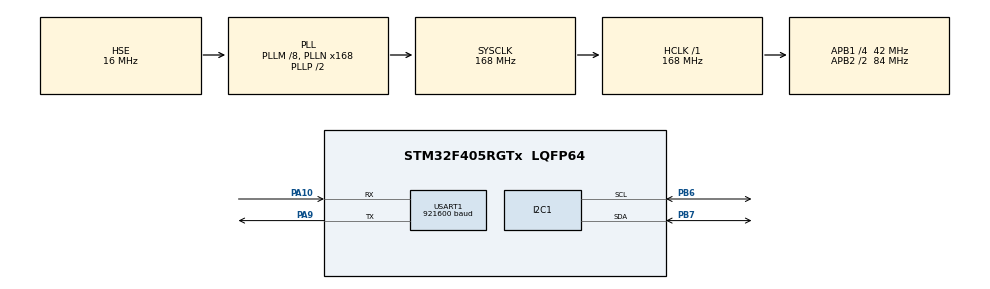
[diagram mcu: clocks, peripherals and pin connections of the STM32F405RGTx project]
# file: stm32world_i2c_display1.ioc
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I2C1.I2C_Mode=I2C_Fast
Mcu.Family=STM32F4
Mcu.Name=STM32F405RGTx
Mcu.Package=LQFP64
NVIC.PriorityGroup=NVIC_PRIORITYGROUP_4
PA10.Mode=Asynchronous
PA10.Signal=USART1_RX
PA13.Mode=Trace_Asynchronous_SW
PA13.Signal=SYS_JTMS-SWDIO
PA14.Mode=Trace_Asynchronous_SW
PA14.Signal=SYS_JTCK-SWCLK
PA9.Mode=Asynchronous
PA9.Signal=USART1_TX
PB3.Mode=Trace_Asynchronous_SW
PB3.Signal=SYS_JTDO-SWO
PB6.GPIO_Pu=GPIO_PULLUP
PB6.Mode=I2C
PB6.Signal=I2C1_SCL
PB7.GPIO_Pu=GPIO_PULLUP
PB7.Mode=I2C
PB7.Signal=I2C1_SDA
PH0-OSC_IN.Mode=HSE-External-Oscillator
PH0-OSC_IN.Signal=RCC_OSC_IN
PH1-OSC_OUT.Mode=HSE-External-Oscillator
PH1-OSC_OUT.Signal=RCC_OSC_OUT
ProjectManager.HeapSize=0x200
ProjectManager.StackSize=0x400
ProjectManager.TargetToolchain=STM32CubeIDE
RCC.48MHZClocksFreq_Value=84000000
RCC.AHBFreq_Value=168000000
RCC.APB1CLKDivider=RCC_HCLK_DIV4
RCC.APB1Freq_Value=42000000
RCC.APB1TimFreq_Value=84000000
RCC.APB2CLKDivider=RCC_HCLK_DIV2
RCC.APB2Freq_Value=84000000
RCC.APB2TimFreq_Value=168000000
RCC.CortexFreq_Value=168000000
RCC.HCLKFreq_Value=168000000
RCC.HSE_VALUE=16000000
RCC.HSI_VALUE=16000000
RCC.LSE_VALUE=32768
RCC.PLLM=8
RCC.PLLN=168
RCC.PLLSourceVirtual=RCC_PLLSOURCE_HSE
RCC.SYSCLKFreq_VALUE=168000000
RCC.SYSCLKSource=RCC_SYSCLKSOURCE_PLLCLK
RCC.VCOOutputFreq_Value=336000000
USART1.BaudRate=921600
USART1.VirtualMode=VM_ASYNC
board=custom

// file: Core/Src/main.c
/* USER CODE BEGIN Header */
/**
  ******************************************************************************
  * @file           : main.c
  * @brief          : Main program body
  ******************************************************************************
  * @attention
  *
  * Copyright (c) 2024 Lars Boegild Thomsen <lth@stm32world.com>
  * All rights reserved.
  *
  * This software is licensed under terms that can be found in the LICENSE file
  * in the root directory of this software component.
  * If no LICENSE file comes with this software, it is provided AS-IS.
  *
  ******************************************************************************
  */
/* USER CODE END Header */
#include "main.h"

/* USER CODE BEGIN Includes */
#include <stdio.h>
#include "lcd.h"
/* USER CODE END Includes */

I2C_HandleTypeDef hi2c1;

UART_HandleTypeDef huart1;

void SystemClock_Config(void);
static void MX_GPIO_Init(void);
static void MX_I2C1_Init(void);
static void MX_USART1_UART_Init(void);

/* USER CODE BEGIN 0 */

// Send printf to uart1
int _write(int fd, char *ptr, int len) {
    HAL_StatusTypeDef hstatus;

    if (fd == 1 || fd == 2) {
        hstatus = HAL_UART_Transmit(&huart1, (uint8_t*) ptr, len, HAL_MAX_DELAY);
        if (hstatus == HAL_OK)
            return len;
        else
            return -1;
    }
    return -1;
}

/* USER CODE END 0 */

int main(void)
{

  /* MCU Configuration--------------------------------------------------------*/

  /* Reset of all peripherals, Initializes the Flash interface and the Systick. */
  HAL_Init();

  /* Configure the system clock */
  SystemClock_Config();

  /* Initialize all configured peripherals */
  MX_GPIO_Init();
  MX_I2C1_Init();
  MX_USART1_UART_Init();
  /* USER CODE BEGIN 2 */

  printf("\n\n\n\n--------\nStarting\n");

  // Go through all possible i2c addresses
    for (uint8_t i = 0; i < 128; i++) {

        if (HAL_I2C_IsDeviceReady(&hi2c1, (uint16_t)(i<<1), 3, 5) == HAL_OK) {
            // We got an ack
            printf("%2x ", i);
        } else {
            printf("-- ");
        }

        if (i > 0 && (i + 1) % 16 == 0) printf("\n");

    }

    printf("\n");

    lcd_init ();
    lcd_put_cur(0, 0);
    lcd_send_string ("STM32World!");
    //lcd_put_cur(1, 0);
    //lcd_send_string("from STM32World");

  /* USER CODE END 2 */

  /* Infinite loop */
  /* USER CODE BEGIN WHILE */

    uint32_t now, loop_cnt = 0, next_tick = 1000, next_lcd = 100;

  while (1) {

      now = uwTick;

      if (now >= next_lcd) {

          char s[17];

          sprintf(s, "Up: %12lu", 100 * (now/100));

          lcd_put_cur(1, 0);
          lcd_send_string(s);

          next_lcd = now + 100;
      }

      if (now >= next_tick) {

          printf("Tick %lu (loop = %lu)\n", now / 1000, loop_cnt);

          loop_cnt = 0;
          next_tick = now + 1000;
      }

      ++loop_cnt;

    /* USER CODE END WHILE */

  }
}

void SystemClock_Config(void)
{
  RCC_OscInitTypeDef RCC_OscInitStruct = {0};
  RCC_ClkInitTypeDef RCC_ClkInitStruct = {0};

  /** Configure the main internal regulator output voltage
  */
  __HAL_RCC_PWR_CLK_ENABLE();
  __HAL_PWR_VOLTAGESCALING_CONFIG(PWR_REGULATOR_VOLTAGE_SCALE1);

  /** Initializes the RCC Oscillators according to the specified parameters
  * in the RCC_OscInitTypeDef structure.
  */
  RCC_OscInitStruct.OscillatorType = RCC_OSCILLATORTYPE_HSE;
  RCC_OscInitStruct.HSEState = RCC_HSE_ON;
  RCC_OscInitStruct.PLL.PLLState = RCC_PLL_ON;
  RCC_OscInitStruct.PLL.PLLSource = RCC_PLLSOURCE_HSE;
  RCC_OscInitStruct.PLL.PLLM = 8;
  RCC_OscInitStruct.PLL.PLLN = 168;
  RCC_OscInitStruct.PLL.PLLP = RCC_PLLP_DIV2;
  RCC_OscInitStruct.PLL.PLLQ = 4;
  if (HAL_RCC_OscConfig(&RCC_OscInitStruct) != HAL_OK)
  {
    Error_Handler();
  }

  /** Initializes the CPU, AHB and APB buses clocks
  */
  RCC_ClkInitStruct.ClockType = RCC_CLOCKTYPE_HCLK|RCC_CLOCKTYPE_SYSCLK
                              |RCC_CLOCKTYPE_PCLK1|RCC_CLOCKTYPE_PCLK2;
  RCC_ClkInitStruct.SYSCLKSource = RCC_SYSCLKSOURCE_PLLCLK;
  RCC_ClkInitStruct.AHBCLKDivider = RCC_SYSCLK_DIV1;
  RCC_ClkInitStruct.APB1CLKDivider = RCC_HCLK_DIV4;
  RCC_ClkInitStruct.APB2CLKDivider = RCC_HCLK_DIV2;

  if (HAL_RCC_ClockConfig(&RCC_ClkInitStruct, FLASH_LATENCY_5) != HAL_OK)
  {
    Error_Handler();
  }
}

static void MX_I2C1_Init(void)
{

  hi2c1.Instance = I2C1;
  hi2c1.Init.ClockSpeed = 400000;
  hi2c1.Init.DutyCycle = I2C_DUTYCYCLE_2;
  hi2c1.Init.OwnAddress1 = 0;
  hi2c1.Init.AddressingMode = I2C_ADDRESSINGMODE_7BIT;
  hi2c1.Init.DualAddressMode = I2C_DUALADDRESS_DISABLE;
  hi2c1.Init.OwnAddress2 = 0;
  hi2c1.Init.GeneralCallMode = I2C_GENERALCALL_DISABLE;
  hi2c1.Init.NoStretchMode = I2C_NOSTRETCH_DISABLE;
  if (HAL_I2C_Init(&hi2c1) != HAL_OK)
  {
    Error_Handler();
  }

}

static void MX_USART1_UART_Init(void)
{

  huart1.Instance = USART1;
  huart1.Init.BaudRate = 921600;
  huart1.Init.WordLength = UART_WORDLENGTH_8B;
  huart1.Init.StopBits = UART_STOPBITS_1;
  huart1.Init.Parity = UART_PARITY_NONE;
  huart1.Init.Mode = UART_MODE_TX_RX;
  huart1.Init.HwFlowCtl = UART_HWCONTROL_NONE;
  huart1.Init.OverSampling = UART_OVERSAMPLING_16;
  if (HAL_UART_Init(&huart1) != HAL_OK)
  {
    Error_Handler();
  }

}

static void MX_GPIO_Init(void)
{

  /* GPIO Ports Clock Enable */
  __HAL_RCC_GPIOH_CLK_ENABLE();
  __HAL_RCC_GPIOA_CLK_ENABLE();
  __HAL_RCC_GPIOB_CLK_ENABLE();

}

void Error_Handler(void)
{
  __disable_irq();
  while (1)
  {
  }
}
